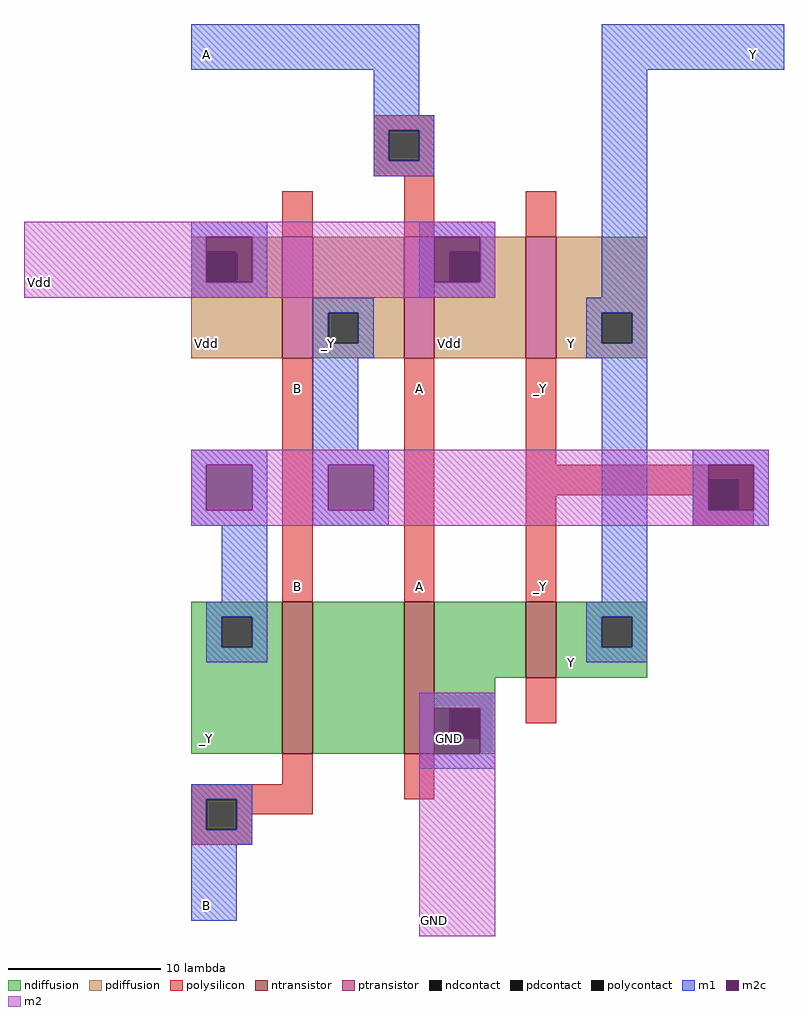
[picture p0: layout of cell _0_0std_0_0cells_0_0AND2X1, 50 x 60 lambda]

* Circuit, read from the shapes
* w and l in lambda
.subckt _0_0std_0_0cells_0_0AND2X1 A
M1 n1 B _Y VSUBS nfet w=10 l=2
M2 GND A n1 VSUBS nfet w=10 l=2
M3 Y _Y GND VSUBS nfet w=5 l=2
M4 _Y B Vdd NWELL pfet w=8 l=2
M5 Vdd A _Y NWELL pfet w=8 l=2
M6 Y _Y Vdd NWELL pfet w=8 l=2
.ends

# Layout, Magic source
magic
tech TSMC180
<< ndiffusion >>
rect 6 21 12 22
rect 6 19 8 21
rect 10 19 12 21
rect 6 12 12 19
rect 14 12 20 22
rect 22 17 28 22
rect 30 21 36 22
rect 30 19 33 21
rect 35 19 36 21
rect 30 17 36 19
rect 22 15 26 17
rect 22 13 23 15
rect 25 13 26 15
rect 22 12 26 13
<< ndcontact >>
rect 8 19 10 21
rect 33 19 35 21
rect 23 13 25 15
<< ntransistor >>
rect 12 12 14 22
rect 20 12 22 22
rect 28 17 30 22
<< pdiffusion >>
rect 6 45 12 46
rect 6 43 7 45
rect 9 43 12 45
rect 6 38 12 43
rect 14 41 20 46
rect 14 39 15 41
rect 17 39 20 41
rect 14 38 20 39
rect 22 45 28 46
rect 22 43 23 45
rect 25 43 28 45
rect 22 38 28 43
rect 30 41 36 46
rect 30 39 33 41
rect 35 39 36 41
rect 30 38 36 39
<< pdcontact >>
rect 7 43 9 45
rect 15 39 17 41
rect 23 43 25 45
rect 33 39 35 41
<< ptransistor >>
rect 12 38 14 46
rect 20 38 22 46
rect 28 38 30 46
<< polysilicon >>
rect 18 53 22 54
rect 18 51 19 53
rect 21 51 22 53
rect 18 50 22 51
rect 12 46 14 49
rect 20 46 22 50
rect 28 46 30 49
rect 12 22 14 38
rect 20 22 22 38
rect 28 31 30 38
rect 28 30 43 31
rect 28 29 40 30
rect 28 22 30 29
rect 39 28 40 29
rect 42 28 43 30
rect 39 27 43 28
rect 28 14 30 17
rect 12 10 14 12
rect 6 9 14 10
rect 20 9 22 12
rect 6 7 7 9
rect 9 8 14 9
rect 9 7 10 8
rect 6 6 10 7
<< polycontact >>
rect 19 51 21 53
rect 40 28 42 30
rect 7 7 9 9
<< m1 >>
rect 6 57 21 60
rect 18 54 21 57
rect 33 57 45 60
rect 18 53 22 54
rect 18 51 19 53
rect 21 51 22 53
rect 18 50 22 51
rect 6 46 11 47
rect 6 43 7 46
rect 10 43 11 46
rect 6 42 11 43
rect 21 46 26 47
rect 21 43 22 46
rect 25 43 26 46
rect 21 42 26 43
rect 33 42 36 57
rect 14 41 18 42
rect 14 39 15 41
rect 17 39 18 41
rect 14 38 18 39
rect 32 41 36 42
rect 32 39 33 41
rect 35 39 36 41
rect 32 38 36 39
rect 14 32 17 38
rect 6 31 11 32
rect 6 28 7 31
rect 10 28 11 31
rect 6 27 11 28
rect 14 31 19 32
rect 14 28 15 31
rect 18 28 19 31
rect 14 27 19 28
rect 8 22 11 27
rect 33 22 36 38
rect 39 31 44 32
rect 39 28 40 31
rect 43 28 44 31
rect 39 27 44 28
rect 7 21 11 22
rect 7 19 8 21
rect 10 19 11 21
rect 7 18 11 19
rect 32 21 36 22
rect 32 19 33 21
rect 35 19 36 21
rect 32 18 36 19
rect 21 15 26 16
rect 21 12 22 15
rect 25 12 26 15
rect 21 11 26 12
rect 6 9 10 10
rect 6 7 7 9
rect 9 7 10 9
rect 6 6 10 7
rect 6 1 9 6
<< m2c >>
rect 7 45 10 46
rect 7 43 9 45
rect 9 43 10 45
rect 22 45 25 46
rect 22 43 23 45
rect 23 43 25 45
rect 7 28 10 31
rect 15 28 18 31
rect 40 30 43 31
rect 40 28 42 30
rect 42 28 43 30
rect 22 13 23 15
rect 23 13 25 15
rect 22 12 25 13
<< m2 >>
rect -5 46 26 47
rect -5 43 7 46
rect 10 43 22 46
rect 25 43 26 46
rect -5 42 26 43
rect 6 31 44 32
rect 6 28 7 31
rect 10 28 15 31
rect 18 28 40 31
rect 43 28 44 31
rect 6 27 44 28
rect 21 15 26 16
rect 21 12 22 15
rect 25 12 26 15
rect 21 0 26 12
<< labels >>
rlabel ndiffusion 31 18 31 18 3 Y
rlabel polysilicon 29 23 29 23 3 _Y
rlabel polysilicon 29 36 29 36 3 _Y
rlabel pdiffusion 31 39 31 39 3 Y
rlabel ndiffusion 23 13 23 13 3 GND
rlabel pdiffusion 23 39 23 39 3 Vdd
rlabel polysilicon 21 23 21 23 3 A
rlabel polysilicon 21 36 21 36 3 A
rlabel pdiffusion 15 39 15 39 3 _Y
rlabel polysilicon 13 23 13 23 3 B
rlabel polysilicon 13 36 13 36 3 B
rlabel ndiffusion 7 13 7 13 3 _Y
rlabel pdiffusion 7 39 7 39 3 Vdd
rlabel m1 7 58 7 58 3 A
port 5 e
rlabel m2 -4 43 -4 43 3 Vdd
rlabel m2 22 1 22 1 1 GND
rlabel m1 43 58 43 58 3 Y
rlabel m1 7 2 7 2 3 B
<< end >>
